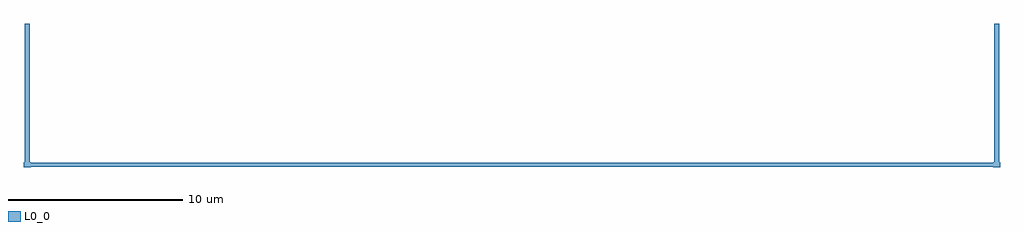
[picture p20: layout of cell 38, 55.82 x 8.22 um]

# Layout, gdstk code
import gdstk
lib = gdstk.Library(unit=1e-6, precision=1e-09)
def P(c, l, *ps):  # polygons
    for p in ps: c.add(gdstk.Polygon(p, *l))
L0_0 = (0, 0)

c_38 = lib.new_cell('38')
P(c_38, L0_0, [(1274.015,767.035),(1329.685,767.035),(1329.685,766.805),(1274.015,766.805),(1274.015,767.035)],
  [(1273.94,767.06),(1274.32,767.06),(1274.32,766.78),(1273.94,766.78),(1273.94,767.06)],
  [(1329.38,767.06),(1329.76,767.06),(1329.76,766.78),(1329.38,766.78),(1329.38,767.06)],
  [(1274.27,775),(1274.27,766.78),(1273.99,766.78),(1273.99,775),(1274.27,775)],
  [(1273.94,767.06),(1274.32,767.06),(1274.32,766.78),(1273.94,766.78),(1273.94,767.06)],
  [(1329.71,775),(1329.71,766.78),(1329.43,766.78),(1329.43,775),(1329.71,775)],
  [(1329.38,767.06),(1329.76,767.06),(1329.76,766.78),(1329.38,766.78),(1329.38,767.06)])

lib.write_gds('38.gds')
